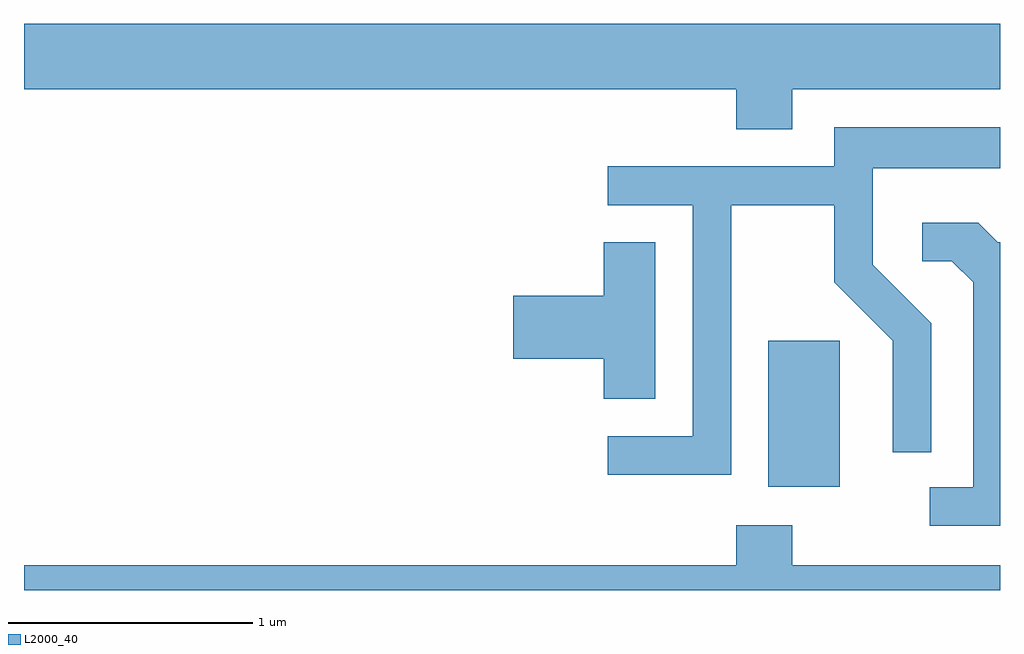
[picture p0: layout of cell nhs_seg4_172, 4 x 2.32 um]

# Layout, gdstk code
import gdstk
lib = gdstk.Library(unit=1e-6, precision=1e-09)
def R(c, l, rs):  # rectangles x0, y0, x1, y1
    for r in rs: c.add(gdstk.rectangle(r[:2], r[2:], *l))
def P(c, l, *ps):  # polygons
    for p in ps: c.add(gdstk.Polygon(p, *l))
L2000_40 = (2000, 40)

nhs_seg4_172 = lib.new_cell('nhs_seg4_172')
R(nhs_seg4_172, L2000_40, [(192.661,1326.406,192.954,1327.004)])
P(nhs_seg4_172, L2000_40, [(192.759,1328.036),(193.611,1328.036),(193.611,1328.304),(189.611,1328.304),(189.611,1328.036),(192.531,1328.036),(192.531,1327.871),(192.759,1327.871)],
  [(192.509,1327.561),(192.931,1327.561),(192.931,1327.244),(193.171,1327.004),(193.171,1326.548),(193.329,1326.548),(193.329,1327.077),(193.089,1327.317),(193.089,1327.711),(193.611,1327.711),(193.611,1327.879),(192.931,1327.879),(192.931,1327.719),(192.003,1327.719),(192.003,1327.561),(192.351,1327.561),(192.351,1326.614),(192.003,1326.614),(192.003,1326.456),(192.509,1326.456)],
  [(193.611,1327.409),(193.602,1327.409),(193.522,1327.489),(193.293,1327.489),(193.293,1327.331),(193.414,1327.331),(193.501,1327.244),(193.501,1326.404),(193.323,1326.404),(193.323,1326.246),(193.611,1326.246)],
  [(192.199,1327.409),(191.986,1327.409),(191.986,1327.189),(191.616,1327.189),(191.616,1326.931),(191.986,1326.931),(191.986,1326.766),(192.199,1326.766)],
  [(193.611,1326.084),(192.759,1326.084),(192.759,1326.249),(192.531,1326.249),(192.531,1326.084),(189.611,1326.084),(189.611,1325.982),(193.611,1325.982)])

lib.write_gds('nhs_seg4_172.gds')
